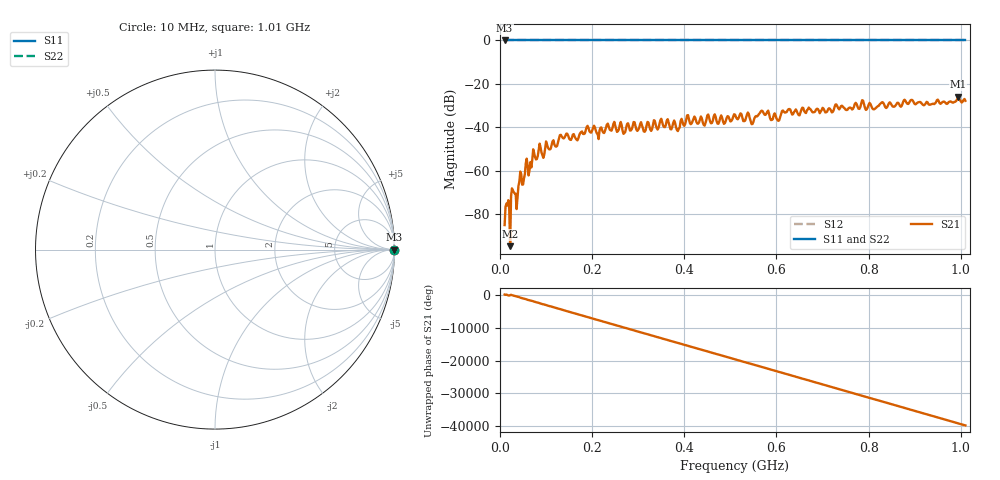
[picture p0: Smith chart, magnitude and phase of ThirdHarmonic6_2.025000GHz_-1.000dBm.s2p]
! 8/17/2025 12:18:22 AM
! C:\ANRITSUVNA\TEMP\TEMP.S2P
! CHANNEL.1
! TR.MEASUREMENT
! RAW.DATA
! RF.CORRECTION.OFF
! AVERAGING.OFF
! IF.BANDWIDTH: 5KHZ
! SWEEPTYPE:  FREQ.SWEEP(Linear)
! Reference Plane Port Info
! PORT:  PORT1  PORT2
! DISTANCE:  0  m  0  m
! TIME:  0  s  0  s
! PHASE.OFFSET:  0  deg.  0  deg.
! LOSS:  0  dB  0  dB
! REF.LOSS:  0  dB  0  dB
! REF.FREQ:  0  Hz  0  Hz
! Power Info
! POWER:  -20  dBm  -20  dBm
! EFF.POWER:  -20  dBm  -20  dBm
! SOURCE.ATTEN:  0  dB  0  dB
! TEST.ATTEN:  0  dB  0  dB
# GHZ S RI R 50.0
! FREQ.GHZ  S11RE  S11IM  S21RE  S21IM  S12RE  S12IM  S22RE  S22IM
!; PortSelection: Port_12
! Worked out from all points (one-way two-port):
!   501 points, 10 MHz to 1.01 GHz, reference 50 ohm
!   highest |S21| = -25.92 dB at 994 MHz (marker M1); lowest = -94.7 dB at 22 MHz (marker M2)
!   lowest |S11| = 0.0 dB at 10 MHz (marker M3)
!   |S11| at or under -10 dB: nowhere
!   |S22| runs from 0.0 to 0.0 dB; largest |S21 - S12| = 1
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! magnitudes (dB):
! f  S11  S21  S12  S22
! 10 MHz  0.0  -85.0  0.0  0.0
! 22 MHz  0.0  -94.7  0.0  0.0
! 28 MHz  0.0  -69.0  0.0  0.0
! 36 MHz  0.0  -77.6  0.0  0.0
! 42 MHz  0.0  -65.1  0.0  0.0
! 56 MHz  0.0  -56.5  0.0  0.0
! 86 MHz  0.0  -47.5  0.0  0.0
! 94 MHz  0.0  -54.1  0.0  0.0
! 178 MHz  0.0  -41.9  0.0  0.0
! 344 MHz  0.0  -40.3  0.0  0.0
! 386 MHz  0.0  -41.7  0.0  0.0
! 408 MHz  0.0  -34.4  0.0  0.0
! 444 MHz  0.0  -39.2  0.0  0.0
! 510 MHz  0.0  -34.1  0.0  0.0
! 548 MHz  0.0  -38.5  0.0  0.0
! 568 MHz  0.0  -32.3  0.0  0.0
! 604 MHz  0.0  -37.0  0.0  0.0
! 626 MHz  0.0  -31.6  0.0  0.0
! 678 MHz  0.0  -33.0  0.0  0.0
! 844 MHz  0.0  -28.9  0.0  0.0
! 994 MHz  0.0  -25.9  0.0  0.0
! 1.01 GHz  0.0  -27.8  0.0  0.0
